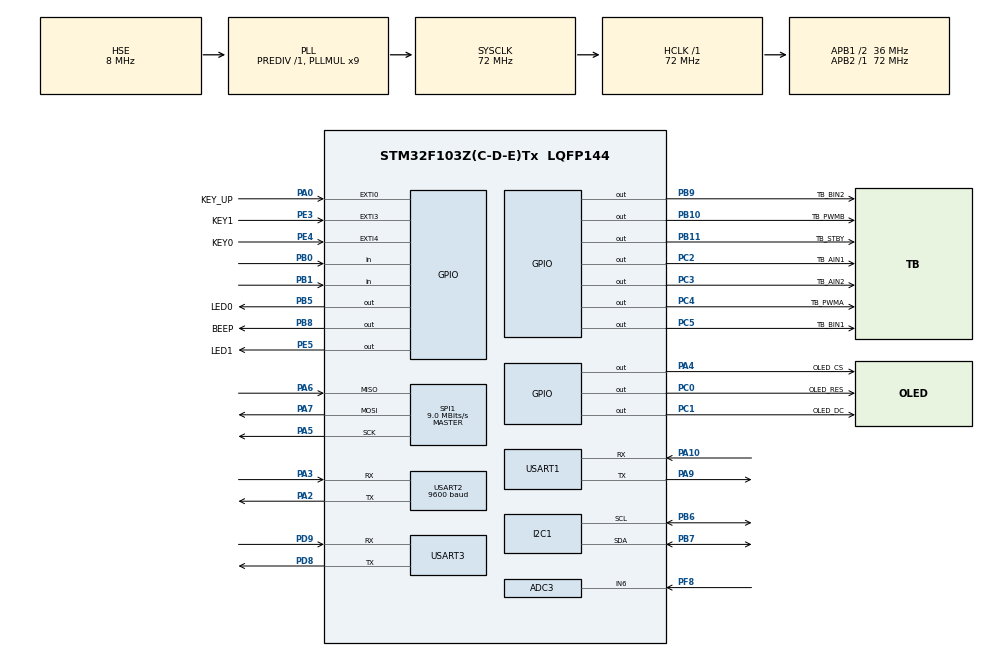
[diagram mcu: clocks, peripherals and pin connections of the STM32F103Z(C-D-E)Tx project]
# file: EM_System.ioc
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ADC3.Channel-0\#ChannelRegularConversion=ADC_CHANNEL_6
ADC3.NbrOfConversion=1
ADC3.NbrOfConversionFlag=1
ADC3.Rank-0\#ChannelRegularConversion=1
ADC3.SamplingTime-0\#ChannelRegularConversion=ADC_SAMPLETIME_71CYCLES_5
Dma.Request0=USART1_RX
Dma.Request1=USART1_TX
Dma.Request2=USART2_RX
Dma.Request3=USART2_TX
Dma.USART1_RX.0.Direction=DMA_PERIPH_TO_MEMORY
Dma.USART1_RX.0.Instance=DMA1_Channel5
Dma.USART1_RX.0.MemDataAlignment=DMA_MDATAALIGN_BYTE
Dma.USART1_RX.0.MemInc=DMA_MINC_ENABLE
Dma.USART1_RX.0.Mode=DMA_NORMAL
Dma.USART1_RX.0.PeriphDataAlignment=DMA_PDATAALIGN_BYTE
Dma.USART1_RX.0.PeriphInc=DMA_PINC_DISABLE
Dma.USART1_RX.0.Priority=DMA_PRIORITY_LOW
Dma.USART1_TX.1.Direction=DMA_MEMORY_TO_PERIPH
Dma.USART1_TX.1.Instance=DMA1_Channel4
Dma.USART1_TX.1.MemDataAlignment=DMA_MDATAALIGN_BYTE
Dma.USART1_TX.1.MemInc=DMA_MINC_ENABLE
Dma.USART1_TX.1.Mode=DMA_NORMAL
Dma.USART1_TX.1.PeriphDataAlignment=DMA_PDATAALIGN_BYTE
Dma.USART1_TX.1.PeriphInc=DMA_PINC_DISABLE
Dma.USART1_TX.1.Priority=DMA_PRIORITY_LOW
Dma.USART2_RX.2.Direction=DMA_PERIPH_TO_MEMORY
Dma.USART2_RX.2.Instance=DMA1_Channel6
Dma.USART2_RX.2.MemDataAlignment=DMA_MDATAALIGN_BYTE
Dma.USART2_RX.2.MemInc=DMA_MINC_ENABLE
Dma.USART2_RX.2.Mode=DMA_NORMAL
Dma.USART2_RX.2.PeriphDataAlignment=DMA_PDATAALIGN_BYTE
Dma.USART2_RX.2.PeriphInc=DMA_PINC_DISABLE
Dma.USART2_RX.2.Priority=DMA_PRIORITY_LOW
Dma.USART2_TX.3.Direction=DMA_MEMORY_TO_PERIPH
Dma.USART2_TX.3.Instance=DMA1_Channel7
Dma.USART2_TX.3.MemDataAlignment=DMA_MDATAALIGN_BYTE
Dma.USART2_TX.3.MemInc=DMA_MINC_ENABLE
Dma.USART2_TX.3.Mode=DMA_NORMAL
Dma.USART2_TX.3.PeriphDataAlignment=DMA_PDATAALIGN_BYTE
Dma.USART2_TX.3.PeriphInc=DMA_PINC_DISABLE
Dma.USART2_TX.3.Priority=DMA_PRIORITY_LOW
FREERTOS.Tasks01=defaultTask,0,128,StartDefaultTask,Default,NULL,Dynamic,NULL,NULL
Mcu.Family=STM32F1
Mcu.Name=STM32F103Z(C-D-E)Tx
Mcu.Package=LQFP144
NVIC.ADC3_IRQn=true\:5\:0\:false\:false\:true\:true\:true\:true\:true
NVIC.DMA1_Channel4_IRQn=true\:5\:0\:false\:false\:true\:true\:false\:true\:true
NVIC.DMA1_Channel5_IRQn=true\:5\:0\:false\:false\:true\:true\:false\:true\:true
NVIC.DMA1_Channel6_IRQn=true\:5\:0\:false\:false\:true\:true\:false\:true\:true
NVIC.DMA1_Channel7_IRQn=true\:5\:0\:false\:false\:true\:true\:false\:true\:true
NVIC.EXTI0_IRQn=true\:5\:0\:false\:false\:true\:true\:true\:true\:true
NVIC.EXTI3_IRQn=true\:5\:0\:false\:false\:true\:true\:true\:true\:true
NVIC.EXTI4_IRQn=true\:5\:0\:false\:false\:true\:true\:true\:true\:true
NVIC.PriorityGroup=NVIC_PRIORITYGROUP_4
NVIC.TIM2_IRQn=true\:5\:0\:false\:false\:true\:true\:true\:true\:true
NVIC.USART1_IRQn=true\:5\:0\:false\:false\:true\:true\:true\:true\:true
NVIC.USART2_IRQn=true\:5\:0\:false\:false\:true\:true\:true\:true\:true
NVIC.USART3_IRQn=true\:5\:0\:false\:false\:true\:true\:true\:true\:true
OSC_IN.Mode=HSE-External-Oscillator
OSC_IN.Signal=RCC_OSC_IN
OSC_OUT.Mode=HSE-External-Oscillator
OSC_OUT.Signal=RCC_OSC_OUT
PA0-WKUP.GPIO_Label=KEY_UP
PA0-WKUP.GPIO_ModeDefaultEXTI=GPIO_MODE_IT_RISING
PA0-WKUP.GPIO_PuPd=GPIO_PULLDOWN
PA0-WKUP.Signal=GPXTI0
PA10.Mode=Asynchronous
PA10.Signal=USART1_RX
PA13.Mode=Serial_Wire
PA13.Signal=SYS_JTMS-SWDIO
PA14.Mode=Serial_Wire
PA14.Signal=SYS_JTCK-SWCLK
PA2.Mode=Asynchronous
PA2.Signal=USART2_TX
PA3.Mode=Asynchronous
PA3.Signal=USART2_RX
PA4.GPIO_Label=OLED_CS
PA4.PinState=GPIO_PIN_SET
PA4.Signal=GPIO_Output
PA5.Mode=Full_Duplex_Master
PA5.Signal=SPI1_SCK
PA6.Mode=Full_Duplex_Master
PA6.Signal=SPI1_MISO
PA7.Mode=Full_Duplex_Master
PA7.Signal=SPI1_MOSI
PA9.Mode=Asynchronous
PA9.Signal=USART1_TX
PB0.GPIO_PuPd=GPIO_PULLUP
PB0.Signal=GPIO_Input
PB1.GPIO_PuPd=GPIO_PULLUP
PB1.Signal=GPIO_Input
PB10.GPIO_Label=TB_PWMB
PB10.Signal=GPIO_Output
PB11.GPIO_Label=TB_STBY
PB11.Signal=GPIO_Output
PB5.GPIO_Label=LED0
PB5.PinState=GPIO_PIN_SET
PB5.Signal=GPIO_Output
PB6.Mode=I2C
PB6.Signal=I2C1_SCL
PB7.Mode=I2C
PB7.Signal=I2C1_SDA
PB8.GPIO_Label=BEEP
PB8.Signal=GPIO_Output
PB9.GPIO_Label=TB_BIN2
PB9.Signal=GPIO_Output
PC0.GPIO_Label=OLED_RES
PC0.PinState=GPIO_PIN_SET
PC0.Signal=GPIO_Output
PC1.GPIO_Label=OLED_DC
PC1.Signal=GPIO_Output
PC2.GPIO_Label=TB_AIN1
PC2.Signal=GPIO_Output
PC3.GPIO_Label=TB_AIN2
PC3.Signal=GPIO_Output
PC4.GPIO_Label=TB_PWMA
PC4.Signal=GPIO_Output
PC5.GPIO_Label=TB_BIN1
PC5.Signal=GPIO_Output
PD8.Mode=Asynchronous
PD8.Signal=USART3_TX
PD9.Mode=Asynchronous
PD9.Signal=USART3_RX
PE3.GPIO_Label=KEY1
PE3.GPIO_ModeDefaultEXTI=GPIO_MODE_IT_FALLING
PE3.GPIO_PuPd=GPIO_PULLUP
PE3.Signal=GPXTI3
PE4.GPIO_Label=KEY0
PE4.GPIO_ModeDefaultEXTI=GPIO_MODE_IT_FALLING
PE4.GPIO_PuPd=GPIO_PULLUP
PE4.Signal=GPXTI4
PE5.GPIO_Label=LED1
PE5.PinState=GPIO_PIN_SET
PE5.Signal=GPIO_Output
PF8.Mode=IN6
PF8.Signal=ADC3_IN6
ProjectManager.HeapSize=0x200
ProjectManager.StackSize=0x400
ProjectManager.TargetToolchain=MDK-ARM V5.32
RCC.ADCPresc=RCC_ADCPCLK2_DIV6
RCC.AHBFreq_Value=72000000
RCC.APB1CLKDivider=RCC_HCLK_DIV2
RCC.APB1Freq_Value=36000000
RCC.APB1TimFreq_Value=72000000
RCC.APB2Freq_Value=72000000
RCC.APB2TimFreq_Value=72000000
RCC.HCLKFreq_Value=72000000
RCC.PLLMUL=RCC_PLL_MUL9
RCC.PLLSourceVirtual=RCC_PLLSOURCE_HSE
RCC.SYSCLKFreq_VALUE=72000000
RCC.SYSCLKSource=RCC_SYSCLKSOURCE_PLLCLK
RCC.USBFreq_Value=72000000
SPI1.BaudRatePrescaler=SPI_BAUDRATEPRESCALER_8
SPI1.CalculateBaudRate=9.0 MBits/s
SPI1.Direction=SPI_DIRECTION_2LINES
SPI1.Mode=SPI_MODE_MASTER
SPI1.VirtualType=VM_MASTER
TIM2.Period=10000-1
TIM2.Prescaler=7200-1
USART1.VirtualMode=VM_ASYNC
USART2.BaudRate=9600
USART2.VirtualMode=VM_ASYNC
USART3.VirtualMode=VM_ASYNC
VP_FREERTOS_VS_CMSIS_V1.Mode=CMSIS_V1
VP_TIM2_VS_ClockSourceINT.Mode=Internal
board=custom

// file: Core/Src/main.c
/* USER CODE BEGIN Header */
/**
 ******************************************************************************
 * @file           : main.c
 * @brief          : Main program body
 ******************************************************************************
 * @attention
 *
 * Copyright (c) 2026 STMicroelectronics.
 * All rights reserved.
 *
 * This software is licensed under terms that can be found in the LICENSE file
 * in the root directory of this software component.
 * If no LICENSE file comes with this software, it is provided AS-IS.
 *
 ******************************************************************************
 */
/* USER CODE END Header */
#include "main.h"
#include "cmsis_os.h"
#include "adc.h"
#include "dma.h"
#include "i2c.h"
#include "spi.h"
#include "tim.h"
#include "usart.h"
#include "gpio.h"

/* USER CODE BEGIN Includes */
#include "light.h"
#include "protocol.h"
#include "environment.h"
#include "alarm.h"
#include "oled.h"
#include "display.h"
#include "aht20.h"
#include "key.h"
#include "control.h"
#include "motor.h"
#include "water.h"
#include "smoke.h"
#include "voice.h"
/* USER CODE END Includes */

/* USER CODE BEGIN PV */
volatile uint8_t sample_flag = 0; // 定时器中断完成标志
/* USER CODE END PV */

void SystemClock_Config(void);
void MX_FREERTOS_Init(void);

int main(void)
{

  /* MCU Configuration--------------------------------------------------------*/

  /* Reset of all peripherals, Initializes the Flash interface and the Systick. */
  HAL_Init();

  /* Configure the system clock */
  SystemClock_Config();

  /* Initialize all configured peripherals */
  MX_GPIO_Init();
  MX_DMA_Init();
  MX_ADC3_Init();
  MX_TIM2_Init();
  MX_USART1_UART_Init();
  MX_SPI1_Init();
  MX_I2C1_Init();
  MX_USART2_UART_Init();
  MX_USART3_UART_Init();
  /* USER CODE BEGIN 2 */
  HAL_Delay(20);
  OLED_Init();
  AHT20_Init();
  UART_RxStart();
  HAL_ADCEx_Calibration_Start(&hadc3);
  HAL_TIM_Base_Start_IT(&htim2);
  Motor_Init();
  Voice_Init();

  /* USER CODE END 2 */

  /* Create the FreeRTOS objects configured in freertos.c. */
  MX_FREERTOS_Init();

  /* Start scheduler */
  osKernelStart();

  /* We should never get here as control is now taken by the scheduler */

  /* The scheduler owns execution after osKernelStart(). */
  Error_Handler();
  /* USER CODE BEGIN WHILE */
  #if 0
  while (1)
  {
    if (key_up_flag == 1U)
    {
      if (HAL_GetTick() - key_up_tick >= 20)
      {
        key_up_flag = 0;
        if (HAL_GPIO_ReadPin(KEY_UP_GPIO_Port, KEY_UP_Pin) == GPIO_PIN_SET)
        {
          Display_NextPage();
        }
      }
    }
    if (key0_flag == 1U)
    {
      if (HAL_GetTick() - key0_tick >= 20)
      {
        key0_flag = 0;
        if (HAL_GPIO_ReadPin(KEY0_GPIO_Port, KEY0_Pin) == GPIO_PIN_RESET)
        {
          Display_AdjustThreshold(-1);
        }
      }
    }

    if (key1_flag == 1U)
    {
      if (HAL_GetTick() - key1_tick >= 20)
      {
        key1_flag = 0;
        if (HAL_GPIO_ReadPin(KEY1_GPIO_Port, KEY1_Pin) == GPIO_PIN_RESET)
        {
          Display_AdjustThreshold(1);
        }
      }
    }

    if (sample_flag == 1)
    {
      sample_flag = 0;
      g_env_data.light = Light_Read();
      AHT20_read(&g_env_data);
      g_env_data.water_alarm = Water_IsAlarm();
      g_env_data.smoke_alarm = Smoke_IsAlarm();
      Device_Control_Update(&g_env_data, &g_threshold);
      Alarm_Update(&g_env_data, &g_threshold);
      SensorData_Send(&g_env_data,&g_threshold);
      Display_Update();
    }
    if (Voice_Process() == 1U)
    {
      Alarm_Update(&g_env_data, &g_threshold);
      Display_Update();
    }
    /* 接收并成功更新阈值后，立即刷新报警与自动控制状态。 */
    if (UART_ProcessCommand(&g_threshold) == 1U)
    {
      Alarm_Update(&g_env_data, &g_threshold);
      Device_Control_Update(&g_env_data, &g_threshold);
    }
    /* USER CODE END WHILE */

    /* USER CODE BEGIN 3 */
  }
  #endif
  /* USER CODE END 3 */
}

void SystemClock_Config(void)
{
  RCC_OscInitTypeDef RCC_OscInitStruct = {0};
  RCC_ClkInitTypeDef RCC_ClkInitStruct = {0};
  RCC_PeriphCLKInitTypeDef PeriphClkInit = {0};

  /** Initializes the RCC Oscillators according to the specified parameters
  * in the RCC_OscInitTypeDef structure.
  */
  RCC_OscInitStruct.OscillatorType = RCC_OSCILLATORTYPE_HSE;
  RCC_OscInitStruct.HSEState = RCC_HSE_ON;
  RCC_OscInitStruct.HSEPredivValue = RCC_HSE_PREDIV_DIV1;
  RCC_OscInitStruct.HSIState = RCC_HSI_ON;
  RCC_OscInitStruct.PLL.PLLState = RCC_PLL_ON;
  RCC_OscInitStruct.PLL.PLLSource = RCC_PLLSOURCE_HSE;
  RCC_OscInitStruct.PLL.PLLMUL = RCC_PLL_MUL9;
  if (HAL_RCC_OscConfig(&RCC_OscInitStruct) != HAL_OK)
  {
    Error_Handler();
  }

  /** Initializes the CPU, AHB and APB buses clocks
  */
  RCC_ClkInitStruct.ClockType = RCC_CLOCKTYPE_HCLK|RCC_CLOCKTYPE_SYSCLK
                              |RCC_CLOCKTYPE_PCLK1|RCC_CLOCKTYPE_PCLK2;
  RCC_ClkInitStruct.SYSCLKSource = RCC_SYSCLKSOURCE_PLLCLK;
  RCC_ClkInitStruct.AHBCLKDivider = RCC_SYSCLK_DIV1;
  RCC_ClkInitStruct.APB1CLKDivider = RCC_HCLK_DIV2;
  RCC_ClkInitStruct.APB2CLKDivider = RCC_HCLK_DIV1;

  if (HAL_RCC_ClockConfig(&RCC_ClkInitStruct, FLASH_LATENCY_2) != HAL_OK)
  {
    Error_Handler();
  }
  PeriphClkInit.PeriphClockSelection = RCC_PERIPHCLK_ADC;
  PeriphClkInit.AdcClockSelection = RCC_ADCPCLK2_DIV6;
  if (HAL_RCCEx_PeriphCLKConfig(&PeriphClkInit) != HAL_OK)
  {
    Error_Handler();
  }
}

/* USER CODE BEGIN 4 */
void HAL_TIM_PeriodElapsedCallback(TIM_HandleTypeDef *htim)
{
  if (htim == &htim2)
  {
    sample_flag = 1;
  }
}
/* USER CODE END 4 */

void Error_Handler(void)
{
  __disable_irq();
  while (1)
  {
  }
}

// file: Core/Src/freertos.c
/* USER CODE BEGIN Header */
/**
  ******************************************************************************
  * File Name          : freertos.c
  * Description        : Code for freertos applications
  ******************************************************************************
  * @attention
  *
  * Copyright (c) 2026 STMicroelectronics.
  * All rights reserved.
  *
  * This software is licensed under terms that can be found in the LICENSE file
  * in the root directory of this software component.
  * If no LICENSE file comes with this software, it is provided AS-IS.
  *
  ******************************************************************************
  */
/* USER CODE END Header */

#include "FreeRTOS.h"
#include "task.h"
#include "main.h"
#include "cmsis_os.h"
#include "light.h"
#include "protocol.h"
#include "environment.h"
#include "alarm.h"
#include "display.h"
#include "aht20.h"
#include "key.h"
#include "control.h"
#include "motor.h"
#include "water.h"
#include "smoke.h"
#include "voice.h"

osThreadId defaultTaskHandle;
extern volatile uint8_t sample_flag;

void StartDefaultTask(void const * argument);

void MX_FREERTOS_Init(void); /* (MISRA C 2004 rule 8.1) */

/* GetIdleTaskMemory prototype (linked to static allocation support) */
void vApplicationGetIdleTaskMemory( StaticTask_t **ppxIdleTaskTCBBuffer, StackType_t **ppxIdleTaskStackBuffer, uint32_t *pulIdleTaskStackSize );

/* USER CODE BEGIN GET_IDLE_TASK_MEMORY */
static StaticTask_t xIdleTaskTCBBuffer;
static StackType_t xIdleStack[configMINIMAL_STACK_SIZE];

void vApplicationGetIdleTaskMemory( StaticTask_t **ppxIdleTaskTCBBuffer, StackType_t **ppxIdleTaskStackBuffer, uint32_t *pulIdleTaskStackSize )
{
  *ppxIdleTaskTCBBuffer = &xIdleTaskTCBBuffer;
  *ppxIdleTaskStackBuffer = &xIdleStack[0];
  *pulIdleTaskStackSize = configMINIMAL_STACK_SIZE;
  /* place for user code */
}
/* USER CODE END GET_IDLE_TASK_MEMORY */

void MX_FREERTOS_Init(void) {

  /* Create the thread(s) */
  /* definition and creation of defaultTask */
  osThreadDef(defaultTask, StartDefaultTask, osPriorityNormal, 0, 128);
  defaultTaskHandle = osThreadCreate(osThread(defaultTask), NULL);

}

void StartDefaultTask(void const * argument)
{
  /* USER CODE BEGIN StartDefaultTask */
  (void)argument;
  /* Infinite loop */
  for(;;)
  {
    if (key_up_flag == 1U && HAL_GetTick() - key_up_tick >= 20U) { key_up_flag = 0; if (HAL_GPIO_ReadPin(KEY_UP_GPIO_Port, KEY_UP_Pin) == GPIO_PIN_SET) Display_NextPage(); }
    if (key0_flag == 1U && HAL_GetTick() - key0_tick >= 20U) { key0_flag = 0; if (HAL_GPIO_ReadPin(KEY0_GPIO_Port, KEY0_Pin) == GPIO_PIN_RESET) Display_AdjustThreshold(-1); }
    if (key1_flag == 1U && HAL_GetTick() - key1_tick >= 20U) { key1_flag = 0; if (HAL_GPIO_ReadPin(KEY1_GPIO_Port, KEY1_Pin) == GPIO_PIN_RESET) Display_AdjustThreshold(1); }
    if (sample_flag == 1U) { sample_flag = 0; g_env_data.light = Light_Read(); AHT20_read(&g_env_data); g_env_data.water_alarm = Water_IsAlarm(); g_env_data.smoke_alarm = Smoke_IsAlarm(); Device_Control_Update(&g_env_data, &g_threshold); Alarm_Update(&g_env_data, &g_threshold); SensorData_Send(&g_env_data, &g_threshold); Display_Update(); }
    if (Voice_Process() == 1U) { Alarm_Update(&g_env_data, &g_threshold); Display_Update(); }
    if (UART_ProcessCommand(&g_threshold) == 1U) { Alarm_Update(&g_env_data, &g_threshold); Device_Control_Update(&g_env_data, &g_threshold); }
    osDelay(1);
  }
  /* USER CODE END StartDefaultTask */
}
